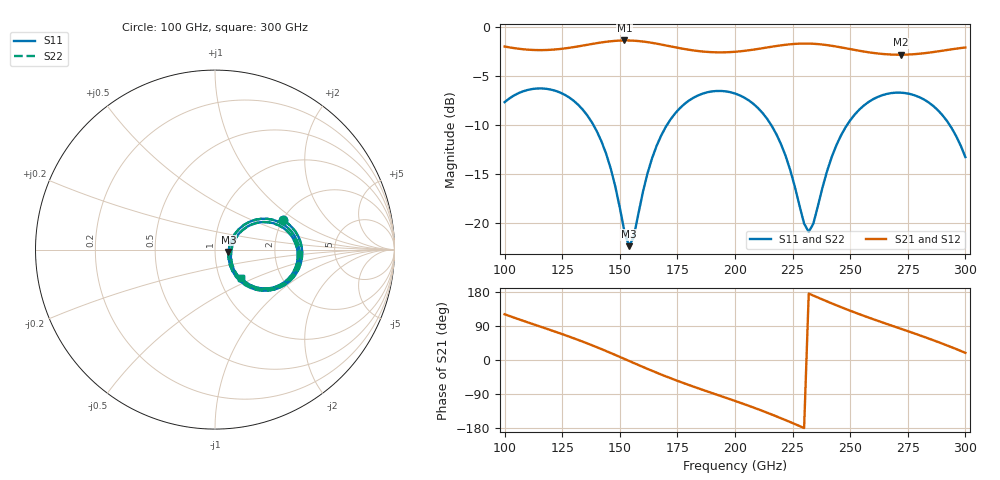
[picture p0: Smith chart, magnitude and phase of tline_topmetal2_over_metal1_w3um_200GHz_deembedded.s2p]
! Created with skrf 2.2.0 (http://scikit-rf.org).
# GHz S DB R 50.0
! Port[1] = P1
! Port[2] = P2
!freq dBS11 angS11 dBS21 angS21 dBS12 angS12 dBS22 angS22
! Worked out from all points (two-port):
!   101 points, 100 GHz to 300 GHz, reference 50 ohm
!   highest |S21| = -1.35 dB at 152 GHz (marker M1); lowest = -2.8 dB at 272 GHz (marker M2)
!   |S21| within 3 dB of the highest: start of sweep to end of sweep
!   lowest |S11| = -22.4 dB at 154 GHz (marker M3), VSWR 1.16, Z = 58.1 - j1.47 ohm
!   |S11| at or under -10 dB: 138.5 GHz to 170.5 GHz (31.93 GHz wide, 20.7 % of centre); 215.7 GHz to 248.6 GHz (32.93 GHz wide, 14.2 % of centre); 293.2 GHz to end of sweep
!   |S22| runs from -22.4 to -6.3 dB; largest |S21 - S12| = 9.2e-14
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100  -7.66 23.2  -1.97 120.7  -1.97 120.7  -7.67 23.3
116  -6.26 -5.3  -2.34 87.1  -2.34 87.1  -6.26 -5.2
134  -8.45 -37.1  -1.88 48.2  -1.88 48.2  -8.45 -37.0
144  -12.89 -51.4  -1.49 23.8  -1.49 23.8  -12.90 -51.4
152  -20.87 -33.2  -1.35 2.9  -1.35 2.9  -20.88 -33.2
154  -22.39 -9.5  -1.36 -2.4  -1.36 -2.4  -22.39 -9.5
156  -21.47 16.4  -1.38 -7.7  -1.38 -7.7  -21.47 16.4
162  -14.96 40.7  -1.53 -23.4  -1.53 -23.4  -14.96 40.7
168  -11.06 36.4  -1.77 -38.4  -1.77 -38.4  -11.06 36.5
182  -7.21 13.6  -2.37 -70.3  -2.37 -70.3  -7.21 13.7
200  -6.78 -17.2  -2.51 -108.0  -2.51 -108.0  -6.78 -17.1
216  -10.11 -43.3  -1.99 -143.9  -1.99 -143.9  -10.11 -43.2
222  -13.18 -49.1  -1.79 -158.8  -1.79 -158.8  -13.17 -48.9
230  -20.08 -26.9  -1.67 -179.5  -1.67 -179.5  -20.01 -26.6
234  -20.09 13.3  -1.69 170.0  -1.69 170.0  -20.01 13.1
242  -13.26 35.6  -1.90 149.4  -1.90 149.4  -13.24 35.3
248  -10.23 30.0  -2.15 134.8  -2.15 134.8  -10.22 29.8
258  -7.64 14.5  -2.56 112.0  -2.56 112.0  -7.64 14.4
268  -6.73 -2.0  -2.80 90.7  -2.80 90.7  -6.73 -2.2
272  -6.69 -8.6  -2.81 82.4  -2.81 82.4  -6.69 -8.8
286  -8.04 -31.5  -2.54 52.3  -2.54 52.3  -8.04 -31.7
300  -13.28 -47.3  -2.07 18.9  -2.07 18.9  -13.30 -47.6
